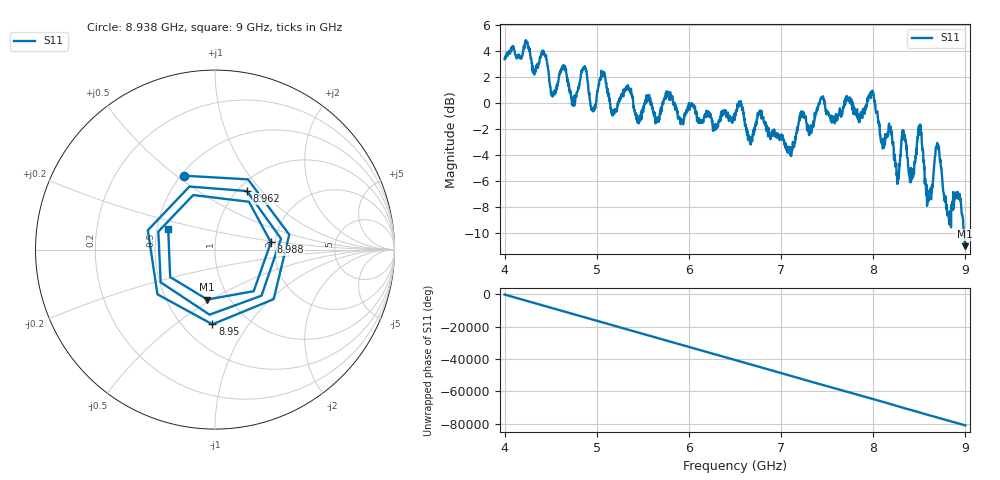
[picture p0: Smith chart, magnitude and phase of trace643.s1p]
! Created with skrf 1.8.0 (http://scikit-rf.org).
# Hz S RI R 50.0
!freq ReS11 ImS11
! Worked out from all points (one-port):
!   1601 points, 4 GHz to 9 GHz, reference 50 ohm
!   lowest |S11| = -11.0 dB at 8.994 GHz (marker M1), VSWR 1.78, Z = 39.5 - j23.9 ohm
!   |S11| at or under -10 dB: 8.98733 GHz to 8.990513 GHz (3.183 MHz wide, 0.0354 % of centre); 8.991033 GHz to end of sweep
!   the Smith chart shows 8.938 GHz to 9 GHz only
!   S11 on the Smith chart (normalised r, x): 8.938 GHz: 0.52, +0.53; 8.95 GHz: 0.69, -0.69; 8.962 GHz: 1.10, +0.83; 8.988 GHz: 1.89, +0.17; 9 GHz: 0.57, +0.14
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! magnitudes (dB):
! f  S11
! 4 GHz  3.4
! 4.425 GHz  4.0
! 4.528 GHz  0.8
! 4.625 GHz  2.6
! 4.747 GHz  0.0
! 4.862 GHz  2.8
! 4.956 GHz  -0.5
! 5.062 GHz  2.1
! 5.25 GHz  0.2
! 5.875 GHz  -0.6
! 6.5 GHz  -0.8
! 7.125 GHz  -3.4
! 7.434 GHz  0.4
! 7.75 GHz  0.1
! 7.988 GHz  0.8
! 8.259 GHz  -5.8
! 8.328 GHz  -2.1
! 8.375 GHz  -4.3
! 8.506 GHz  -1.7
! 8.594 GHz  -7.5
! 8.694 GHz  -3.1
! 8.819 GHz  -8.4
! 8.938 GHz  -7.0
! 8.95 GHz  -7.6
! 8.962 GHz  -8.6
! 8.988 GHz  -10.1
! 8.994 GHz  -11.0
! 9 GHz  -10.9
